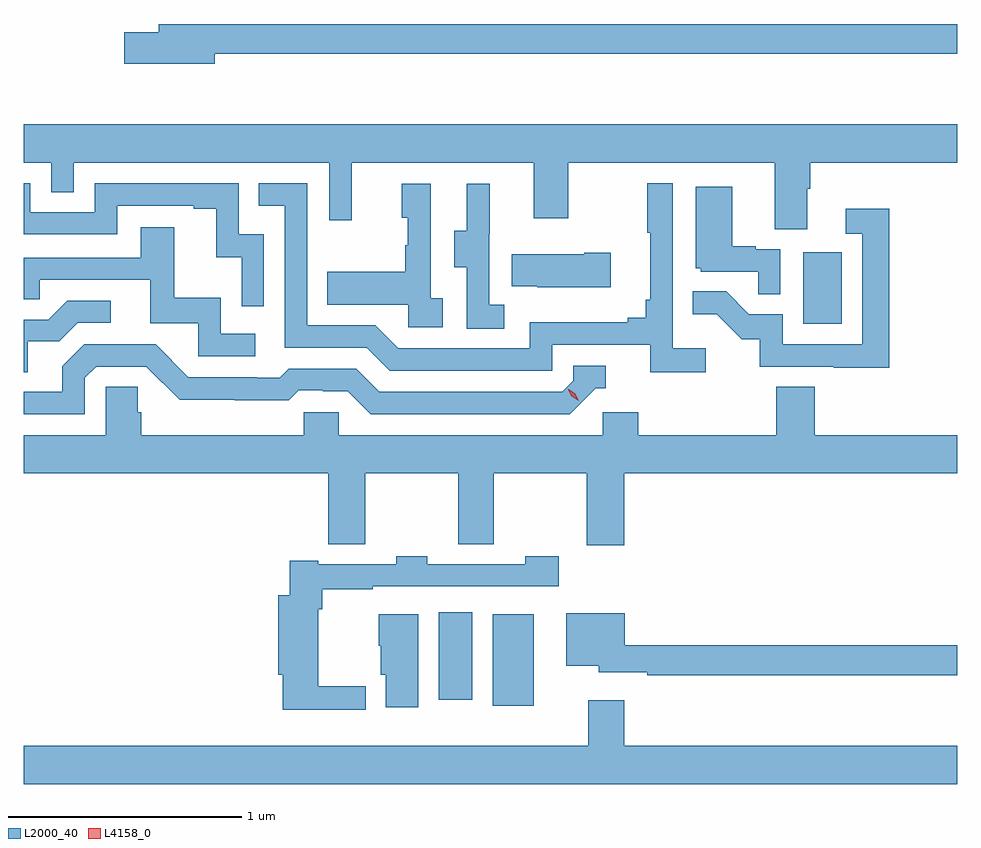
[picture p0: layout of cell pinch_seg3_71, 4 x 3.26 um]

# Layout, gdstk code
import gdstk
lib = gdstk.Library(unit=1e-6, precision=1e-09)
def R(c, l, rs):  # rectangles x0, y0, x1, y1
    for r in rs: c.add(gdstk.rectangle(r[:2], r[2:], *l))
def P(c, l, *ps):  # polygons
    for p in ps: c.add(gdstk.Polygon(p, *l))
L2000_40 = (2000, 40)
L4158_0 = (4158, 0)

pinch_seg3_71 = lib.new_cell('pinch_seg3_71')
R(pinch_seg3_71, L2000_40, [(1044.038,734.552,1044.214,734.944), (1043.807,734.577,1043.95,734.953), (1045.37,736.188,1045.534,736.495)])
P(pinch_seg3_71, L2000_40, [(1042.846,737.346),(1046.029,737.346),(1046.029,737.474),(1042.607,737.474),(1042.607,737.438),(1042.458,737.438),(1042.458,737.303),(1042.846,737.303)],
  [(1045.387,736.768),(1045.4,736.768),(1045.4,736.88),(1046.029,736.88),(1046.029,737.044),(1042.029,737.044),(1042.029,736.88),(1042.146,736.88),(1042.146,736.753),(1042.242,736.753),(1042.242,736.88),(1043.337,736.88),(1043.337,736.632),(1043.435,736.632),(1043.435,736.88),(1044.215,736.88),(1044.215,736.641),(1044.363,736.641),(1044.363,736.88),(1045.247,736.88),(1045.247,736.594),(1045.387,736.594)],
  [(1044.952,736.084),(1044.81,736.084),(1044.81,736.792),(1044.702,736.792),(1044.702,736.579),(1044.713,736.579),(1044.713,736.291),(1044.694,736.291),(1044.694,736.214),(1044.617,736.214),(1044.617,736.195),(1044.198,736.195),(1044.198,736.083),(1043.634,736.083),(1043.535,736.182),(1043.244,736.182),(1043.244,736.791),(1043.035,736.791),(1043.035,736.695),(1043.148,736.695),(1043.148,736.086),(1043.498,736.086),(1043.597,735.987),(1044.294,735.987),(1044.294,736.098),(1044.713,736.098),(1044.713,735.982),(1044.952,735.982)],
  [(1043.058,736.572),(1042.95,736.572),(1042.95,736.791),(1042.332,736.791),(1042.332,736.668),(1042.056,736.668),(1042.056,736.791),(1042.029,736.791),(1042.029,736.572),(1042.428,736.572),(1042.428,736.695),(1042.757,736.695),(1042.757,736.683),(1042.853,736.683),(1042.853,736.475),(1042.962,736.475),(1042.962,736.263),(1043.058,736.263)],
  [(1044.088,736.271),(1044.024,736.271),(1044.024,736.575),(1044.026,736.575),(1044.026,736.789),(1043.927,736.789),(1043.927,736.587),(1043.873,736.587),(1043.873,736.432),(1043.928,736.432),(1043.928,736.168),(1044.088,736.168)],
  [(1043.824,736.298),(1043.772,736.298),(1043.772,736.789),(1043.648,736.789),(1043.648,736.644),(1043.674,736.644),(1043.674,736.526),(1043.664,736.526),(1043.664,736.411),(1043.329,736.411),(1043.329,736.271),(1043.676,736.271),(1043.676,736.173),(1043.824,736.173)],
  [(1045.272,736.509),(1045.166,736.509),(1045.166,736.522),(1045.066,736.522),(1045.066,736.777),(1044.908,736.777),(1044.908,736.428),(1044.93,736.428),(1044.93,736.413),(1045.177,736.413),(1045.177,736.315),(1045.272,736.315)],
  [(1045.739,736.681),(1045.551,736.681),(1045.551,736.575),(1045.623,736.575),(1045.623,736.101),(1045.281,736.101),(1045.281,736.23),(1045.137,736.23),(1045.039,736.328),(1044.895,736.328),(1044.895,736.229),(1044.999,736.229),(1045.106,736.122),(1045.183,736.122),(1045.183,736.005),(1045.501,736.005),(1045.501,736),(1045.739,736)],
  [(1043.02,736.146),(1042.872,736.146),(1042.872,736.3),(1042.673,736.3),(1042.673,736.603),(1042.529,736.603),(1042.529,736.473),(1042.029,736.473),(1042.029,736.293),(1042.097,736.293),(1042.097,736.377),(1042.571,736.377),(1042.571,736.191),(1042.776,736.191),(1042.776,736.05),(1043.02,736.05)],
  [(1044.544,736.494),(1044.431,736.494),(1044.431,736.486),(1044.121,736.486),(1044.121,736.349),(1044.229,736.349),(1044.229,736.346),(1044.544,736.346)],
  [(1042.045,736.114),(1042.18,736.114),(1042.26,736.194),(1042.402,736.194),(1042.402,736.287),(1042.214,736.287),(1042.133,736.206),(1042.029,736.206),(1042.029,735.982),(1042.045,735.982)],
  [(1042.29,735.957),(1042.338,736.005),(1042.554,736.005),(1042.696,735.863),(1042.932,735.863),(1042.932,735.861),(1043.165,735.861),(1043.207,735.903),(1043.31,735.903),(1043.31,735.9),(1043.417,735.9),(1043.516,735.801),(1044.369,735.801),(1044.48,735.912),(1044.523,735.912),(1044.523,736.008),(1044.384,736.008),(1044.384,735.945),(1044.336,735.897),(1043.553,735.897),(1043.454,735.996),(1043.165,735.996),(1043.126,735.957),(1043.027,735.957),(1043.027,735.96),(1042.734,735.96),(1042.593,736.101),(1042.287,736.101),(1042.193,736.007),(1042.193,735.897),(1042.029,735.897),(1042.029,735.801),(1042.29,735.801)],
  [(1044.602,735.548),(1046.029,735.548),(1046.029,735.712),(1045.418,735.712),(1045.418,735.92),(1045.253,735.92),(1045.253,735.712),(1044.662,735.712),(1044.662,735.81),(1044.51,735.81),(1044.51,735.712),(1043.379,735.712),(1043.379,735.81),(1043.229,735.81),(1043.229,735.712),(1042.532,735.712),(1042.532,735.81),(1042.517,735.81),(1042.517,735.92),(1042.38,735.92),(1042.38,735.712),(1042.029,735.712),(1042.029,735.548),(1043.333,735.548),(1043.333,735.244),(1043.492,735.244),(1043.492,735.548),(1043.89,735.548),(1043.89,735.244),(1044.044,735.244),(1044.044,735.548),(1044.442,735.548),(1044.442,735.24),(1044.602,735.24)],
  [(1043.494,734.636),(1043.29,734.636),(1043.29,734.966),(1043.308,734.966),(1043.308,735.051),(1043.525,735.051),(1043.525,735.063),(1044.322,735.063),(1044.322,735.192),(1044.177,735.192),(1044.177,735.159),(1043.757,735.159),(1043.757,735.192),(1043.625,735.192),(1043.625,735.159),(1043.29,735.159),(1043.29,735.172),(1043.169,735.172),(1043.169,735.025),(1043.12,735.025),(1043.12,734.685),(1043.138,734.685),(1043.138,734.534),(1043.494,734.534)],
  [(1046.029,734.81),(1044.604,734.81),(1044.604,734.947),(1044.353,734.947),(1044.353,734.723),(1044.494,734.723),(1044.494,734.694),(1044.7,734.694),(1044.7,734.682),(1046.029,734.682)],
  [(1043.719,734.944),(1043.549,734.944),(1043.549,734.808),(1043.558,734.808),(1043.558,734.685),(1043.579,734.685),(1043.579,734.544),(1043.719,734.544)],
  [(1046.029,734.38),(1044.602,734.38),(1044.602,734.575),(1044.449,734.575),(1044.449,734.38),(1042.029,734.38),(1042.029,734.216),(1046.029,734.216)])
P(pinch_seg3_71, L4158_0, [(1044.408,735.86),(1044.377,735.878),(1044.36,735.91),(1044.36,735.911),(1044.36,735.911),(1044.391,735.892),(1044.408,735.86),(1044.408,735.86)])

lib.write_gds('pinch_seg3_71.gds')
